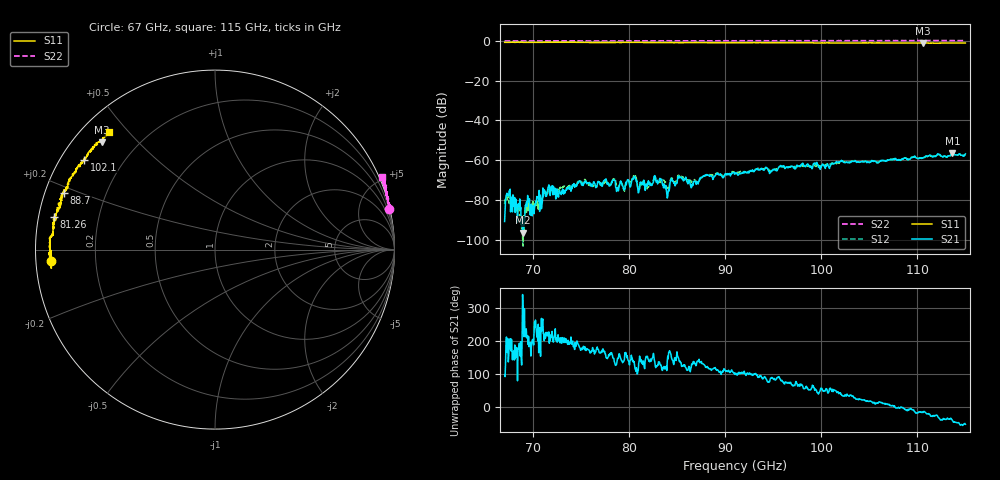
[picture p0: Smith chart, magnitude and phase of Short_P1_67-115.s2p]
!Keysight Technologies,N5247B,MY61256062,A.16.20.04
!Date: Saturday, November 01, 2025 03:56:15
!Correction: S11(C  2-Port  )
!S21(C  2-Port  )
!S12(C  2-Port  )
!S22(C  2-Port  )
!S2P File: Measurements: S11, S21, S12, S22:
# Hz S  dB  R 50
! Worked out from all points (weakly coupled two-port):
!   1001 points, 67 GHz to 115 GHz, reference 50 ohm
!   highest |S21| = -56.63 dB at 113.7 GHz (marker M1); lowest = -96.6 dB at 68.92 GHz (marker M2)
!   lowest |S11| = -1.2 dB at 110.6 GHz (marker M3), VSWR 14.16, Z = 4.09 + j19.9 ohm
!   |S11| at or under -10 dB: nowhere
!   |S22| runs from 0.0 to 0.2 dB; largest |S21 - S12| = 0.00021
!   S11 on the Smith chart (normalised r, x): 67 GHz: 0.04, -0.04; 81.26 GHz: 0.05, +0.10; 88.7 GHz: 0.06, +0.18; 102.1 GHz: 0.07, +0.31; 115 GHz: 0.08, +0.44
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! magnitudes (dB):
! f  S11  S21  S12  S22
! 67 GHz  -0.8  -90.9  -82.0  0.0
! 68.92 GHz  -0.8  -96.6  -103.3  0.0
! 70.65 GHz  -0.8  -85.8  -81.9  0.0
! 71.75 GHz  -0.7  -77.8  -74.4  0.0
! 72.76 GHz  -0.7  -76.2  -74.4  0.0
! 75.02 GHz  -0.8  -72.5  -70.9  0.0
! 78.38 GHz  -0.8  -70.2  -69.8  0.0
! 79.38 GHz  -0.8  -74.2  -74.6  0.0
! 80.49 GHz  -0.8  -68.3  -67.4  0.0
! 81.26 GHz  -0.8  -71.6  -72.6  0.0
! 83.03 GHz  -0.8  -71.1  -71.3  0.0
! 83.94 GHz  -1.0  -79.1  -73.7  0.1
! 85.29 GHz  -1.0  -68.8  -68.4  0.0
! 86.54 GHz  -0.9  -72.0  -70.6  0.0
! 88.7 GHz  -0.9  -69.8  -67.8  0.0
! 91 GHz  -1.0  -66.6  -66.4  0.0
! 99.02 GHz  -1.0  -64.4  -62.7  0.1
! 102.1 GHz  -1.1  -60.1  -60.3  0.1
! 107 GHz  -1.0  -60.0  -59.8  0.1
! 110.6 GHz  -1.2  -58.9  -59.2  0.2
! 113.7 GHz  -1.1  -56.6  -56.7  0.1
! 115 GHz  -1.1  -56.9  -57.1  0.1
